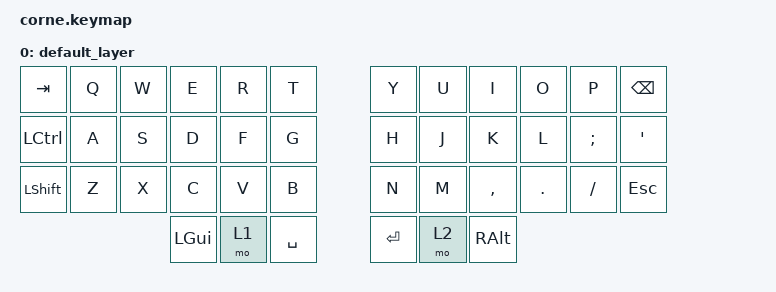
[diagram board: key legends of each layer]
/*
 * Copyright (c) 2020 The ZMK Contributors
 *
 * SPDX-License-Identifier: MIT
 */

#include <behaviors.dtsi>
#include <dt-bindings/zmk/keys.h>
#include <dt-bindings/zmk/bt.h>
#include <dt-bindings/zmk/outputs.h>
#include <dt-bindings/zmk/mouse.h>


/ {
        keymap {
                compatible = "zmk,keymap";

                default_layer {
// -----------------------------------------------------------------------------------------
// |  TAB |  Q  |  W  |  E  |  R  |  T  |   |  Y  |  U   |  I  |  O  |  P  | BKSP |
// | CTRL |  A  |  S  |  D  |  F  |  G  |   |  H  |  J   |  K  |  L  |  ;  |  '   |
// | SHFT |  Z  |  X  |  C  |  V  |  B  |   |  N  |  M   |  ,  |  .  |  /  | ESC  |
//                    | GUI | LWR | SPC |   | ENT | RSE  | ALT |
                        bindings = <
   &kp TAB   &kp Q &kp W &kp E &kp R &kp T   &kp Y &kp U  &kp I     &kp O   &kp P    &kp BSPC
   &kp LCTRL &kp A &kp S &kp D &kp F &kp G   &kp H &kp J  &kp K     &kp L   &kp SEMI &kp SQT
   &kp LSHFT &kp Z &kp X &kp C &kp V &kp B   &kp N &kp M  &kp COMMA &kp DOT &kp FSLH &kp ESC
                  &kp LGUI &mo 1 &kp SPACE   &kp RET &mo 2 &kp RALT
                        >;
                        //TODO UNCOMMENT
                        //trackball-bindings = <&tmv>;
                };

        };
};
